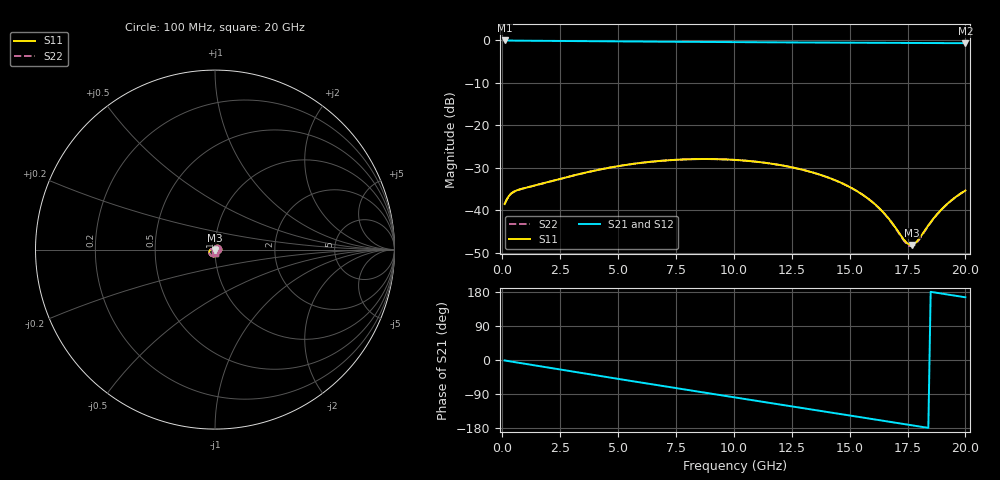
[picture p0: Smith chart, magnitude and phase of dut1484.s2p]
! Touchstone file exported from HFSS 2026.1.0
!  File:  C:/ffzhzh/LocalFiles/Ansys_Project_Files/temp_train_TSV_RDL_1484_1783363432_4416.aedt
!  Generated:  02:51:17 AM Jul  7, 2026
!  Design:  TSV_RDL
!  Project:  temp_train_TSV_RDL_1484_1783363432_4416
! Variables:
!  h_bsmrdl = 2.95um
!  h_ox = 20um
!  h_rdl = 5um
!  h_sub = 62.86um
!  h_tmrdl = 4.97um
!  h_tsv = 62.86um
!  h_via = 3um
!  l_bsmrdl = 155.06um
!  l_sub = 3281.88um
!  l_tmrdl = 572.72um
!  m_sub = 200um
!  pitch = 31.33um
!  r_tsv = 11.74um
!  s_tmrdl = 10um
!  w_bsmrdl = 15.22um
!  w_sub = 500um
!  w_tmrdl = 26.72um
!  x_tsv_center1 = 586.08um
!  x_tsv_center2 = 756.36um
!  x_tsv_center3 = 1355.8um
!  x_tsv_center4 = 1526.08um
!  x_tsv_center5 = 2125.52um
!  x_tsv_center6 = 2295.8um
# GHz S MA R 50.000000
! Terminal data exported
! Port[1] = TM_RDL1_1_T1
! Port[2] = TM_RDL5_1_T1
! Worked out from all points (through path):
!   200 points, 100 MHz to 20 GHz, reference 50 ohm
!   highest |S21| = -0.10 dB at 100 MHz (marker M1); lowest = -0.7 dB at 20 GHz (marker M2)
!   group delay of S21, straight-line fit = 26.9 ps
!   lowest |S11| = -48.1 dB at 17.7 GHz (marker M3), VSWR 1.01, Z = 49.7 - j0.283 ohm
!   |S11| at or under -10 dB: start of sweep to end of sweep
!   |S22| runs from -48.4 to -27.9 dB; largest |S21 - S12| = 1.5e-12
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0.1  0.01184 9.3  0.9884 -1.1  0.9884 -1.1  0.01184 9.3
! Gamma 0 0 0 0
! Port Impedance 50 0 50 0
0.3  0.01495 10.1  0.9854 -3.2  0.9854 -3.2  0.01495 10.1
0.6  0.01705 2.8  0.983 -6.2  0.983 -6.2  0.01705 2.8
2  0.02157 -21.3  0.9778 -20.2  0.9778 -20.2  0.02157 -21.3
3.5  0.02739 -46.4  0.9712 -35.1  0.9712 -35.1  0.0274 -46.4
5.2  0.03373 -73.8  0.9634 -51.8  0.9634 -51.8  0.03374 -73.9
6.8  0.03808 -97.4  0.9565 -67.3  0.9565 -67.3  0.03809 -97.4
8.5  0.04008 -120.0  0.9499 -83.8  0.9499 -83.8  0.04009 -120.0
10.1  0.03906 -139.5  0.9442 -99.3  0.9442 -99.3  0.03906 -139.6
11.7  0.0351 -157.5  0.9391 -114.7  0.9391 -114.7  0.0351 -157.6
13.4  0.0279 -174.8  0.9341 -131.1  0.9341 -131.1  0.0279 -174.9
14.4  0.02245 176.3  0.9314 -140.7  0.9314 -140.7  0.02244 176.1
15.3  0.01696 170.0  0.9291 -149.3  0.9291 -149.3  0.01694 169.7
16.1  0.01179 167.7  0.9272 -157.0  0.9272 -157.0  0.01175 167.2
16.7  0.007939 171.6  0.9257 -162.8  0.9257 -162.8  0.007881 170.9
17.4  0.004343 -160.6  0.9241 -169.5  0.9241 -169.5  0.004227 -161.4
17.6  0.003944 -143.3  0.9236 -171.5  0.9236 -171.5  0.003813 -143.4
17.7  0.003935 -133.7  0.9234 -172.4  0.9234 -172.4  0.003802 -133.5
17.9  0.004304 -116.0  0.923 -174.3  0.923 -174.3  0.00418 -115.2
18.5  0.007277 -89.0  0.9216 179.9  0.9216 179.9  0.0072 -88.0
19  0.01048 -83.4  0.9205 175.1  0.9205 175.1  0.01043 -82.6
20  0.01713 -84.6  0.9182 165.5  0.9182 165.5  0.01709 -84.0
